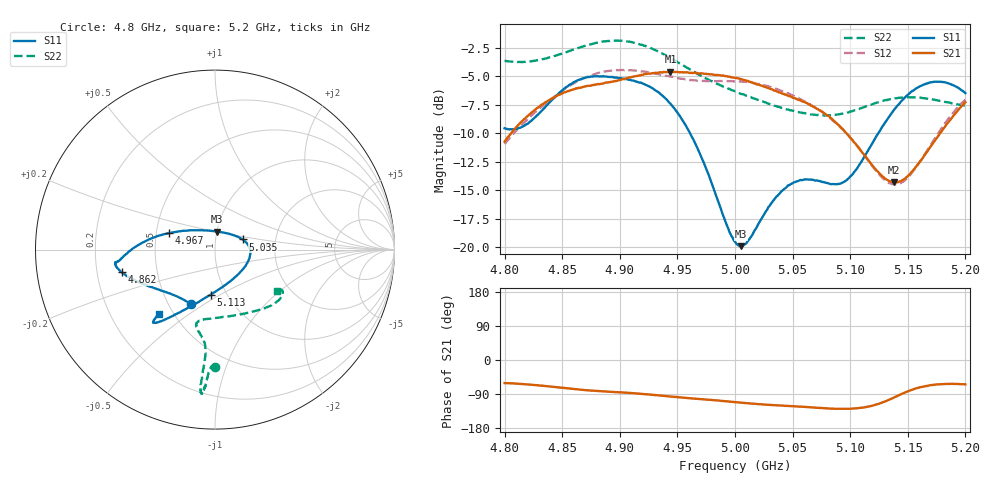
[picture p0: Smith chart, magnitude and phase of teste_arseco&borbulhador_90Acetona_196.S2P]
! Network Analyzer HP8722D
! Hewlett-Packard
! Data name: Linha & Wilkinson
! Saver's name: Rodrigo Anjos
! Comments: Teste da utilização de aquisição
! continua pelo VNA HP8722D
! Time and date: 17/4/2025 12:41
!  Frequency  S11  S21  S12  S22
# HZ  S  MA R 50
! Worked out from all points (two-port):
!   401 points, 4.8 GHz to 5.2 GHz, reference 50 ohm
!   highest |S21| = -4.62 dB at 4.944 GHz (marker M1); lowest = -14.3 dB at 5.138 GHz (marker M2)
!   |S21| within 3 dB of the highest: 4.831 GHz to 5.067 GHz (236.4 MHz wide, 4.78 % of centre); 5.196865 GHz to end of sweep
!   lowest |S11| = -19.9 dB at 5.005 GHz (marker M3), VSWR 1.22, Z = 50.2 + j10.2 ohm
!   |S11| at or under -10 dB: 4.961 GHz to 5.124 GHz (163.5 MHz wide, 3.24 % of centre)
!   |S22| runs from -8.5 to -1.9 dB; largest |S21 - S12| = 0.88
!   S11 on the Smith chart (normalised r, x): 4.8 GHz: 0.65, -0.44; 4.862 GHz: 0.31, -0.11; 4.967 GHz: 0.58, +0.12; 5.035 GHz: 1.35, +0.16; 5.113 GHz: 0.84, -0.45; 5.2 GHz: 0.42, -0.39
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4.8e9  0.3323 -113.8  0.2904 -61.0  0.2839 -175.2  0.656 -89.8
4.819e9  0.3461 -133.8  0.3722 -64.0  0.3597 -173.8  0.6512 -91.6
4.862e9  0.5351 -166.3  0.4977 -77.2  0.5301 -176.9  0.7423 -93.8
4.867e9  0.5479 -168.3  0.5024 -78.7  0.5459 -177.8  0.7567 -94.0
4.9e9  0.552 -172.9  0.5411 -85.2  0.5982 175.5  0.8041 -95.4
4.934e9  0.4763 -178.9  0.5829 -93.7  0.5746 171.8  0.7177 -95.8
4.944e9  0.4257 176.3  0.5878 -96.5  0.5597 171.8  0.6756 -95.6
4.967e9  0.2747 160.5  0.5811 -102.5  0.5371 173.9  0.5769 -95.2
5e9  0.1057 99.8  0.5536 -111.3  0.5339 176.0  0.4828 -99.5
5.005e9  0.101 82.8  0.5459 -112.5  0.5325 176.1  0.4702 -100.6
5.012e9  0.1077 60.6  0.5326 -114.4  0.5273 175.9  0.4572 -102.0
5.035e9  0.1643 20.2  0.4852 -119.3  0.4968 174.8  0.4164 -103.8
5.05e9  0.1909 4.9  0.4537 -122.0  0.4626 173.9  0.3972 -99.9
5.067e9  0.1976 -13.2  0.4166 -125.0  0.418 173.5  0.3818 -91.1
5.093e9  0.1919 -57.7  0.3311 -129.0  0.3299 174.0  0.3847 -70.9
5.113e9  0.2523 -95.5  0.2509 -124.6  0.2499 179.9  0.4132 -55.1
5.134e9  0.3751 -116.9  0.1951 -104.6  0.1909 -157.3  0.445 -43.2
5.138e9  0.4002 -119.2  0.1923 -98.9  0.1889 -151.1  0.4483 -41.3
5.15e9  0.4654 -124.7  0.205 -82.8  0.2019 -132.5  0.4545 -36.8
5.17e9  0.5285 -129.4  0.277 -66.4  0.2818 -112.4  0.4461 -32.1
5.184e9  0.5255 -130.7  0.3482 -63.1  0.3587 -107.3  0.4326 -31.1
5.2e9  0.474 -131.1  0.4324 -64.5  0.4436 -106.5  0.4156 -33.5
